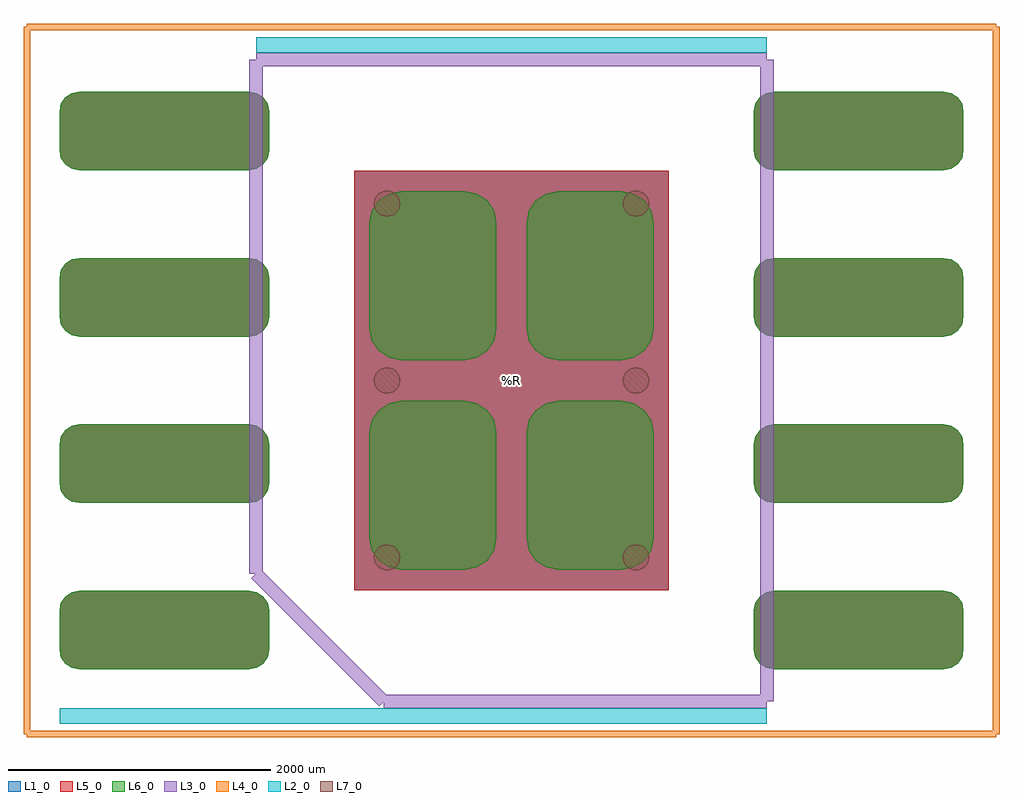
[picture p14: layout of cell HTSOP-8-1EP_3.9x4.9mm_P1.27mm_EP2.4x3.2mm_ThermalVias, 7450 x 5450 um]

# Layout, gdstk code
import gdstk
lib = gdstk.Library(unit=1e-6, precision=1e-09)
def R(c, l, rs):  # rectangles x0, y0, x1, y1
    for r in rs: c.add(gdstk.rectangle(r[:2], r[2:], *l))
def P(c, l, *ps):  # polygons
    for p in ps: c.add(gdstk.Polygon(p, *l))
L1_0 = (1, 0)
L2_0 = (2, 0)
L3_0 = (3, 0)
L4_0 = (4, 0)
L5_0 = (5, 0)
L6_0 = (6, 0)
L7_0 = (7, 0)

htsop_8_1ep_3_9x4_9mm_p1 = lib.new_cell('HTSOP-8-1EP_3.9x4.9mm_P1.27mm_EP2.4x3.2mm_ThermalVias')
R(htsop_8_1ep_3_9x4_9mm_p1, L1_0, [(-1200,-1600,1200,1600), (-1200,-1600,1200,1600)])
P(htsop_8_1ep_3_9x4_9mm_p1, L1_0, [(-2000,-2205),(-1943,-2194),(-1894,-2161),(-1861,-2112),(-1850,-2055),(-1850,-1755),(-1861,-1698),(-1894,-1649),(-1943,-1616),(-2000,-1605),(-3300,-1605),(-3357,-1616),(-3406,-1649),(-3439,-1698),(-3450,-1755),(-3450,-2055),(-3439,-2112),(-3406,-2161),(-3357,-2194),(-3300,-2205)],
  [(-2000,-935),(-1943,-924),(-1894,-891),(-1861,-842),(-1850,-785),(-1850,-485),(-1861,-428),(-1894,-379),(-1943,-346),(-2000,-335),(-3300,-335),(-3357,-346),(-3406,-379),(-3439,-428),(-3450,-485),(-3450,-785),(-3439,-842),(-3406,-891),(-3357,-924),(-3300,-935)],
  [(-2000,335),(-1943,346),(-1894,379),(-1861,428),(-1850,485),(-1850,785),(-1861,842),(-1894,891),(-1943,924),(-2000,935),(-3300,935),(-3357,924),(-3406,891),(-3439,842),(-3450,785),(-3450,485),(-3439,428),(-3406,379),(-3357,346),(-3300,335)],
  [(-2000,1605),(-1943,1616),(-1894,1649),(-1861,1698),(-1850,1755),(-1850,2055),(-1861,2112),(-1894,2161),(-1943,2194),(-2000,2205),(-3300,2205),(-3357,2194),(-3406,2161),(-3439,2112),(-3450,2055),(-3450,1755),(-3439,1698),(-3406,1649),(-3357,1616),(-3300,1605)],
  [(3300,1605),(3357,1616),(3406,1649),(3439,1698),(3450,1755),(3450,2055),(3439,2112),(3406,2161),(3357,2194),(3300,2205),(2000,2205),(1943,2194),(1894,2161),(1861,2112),(1850,2055),(1850,1755),(1861,1698),(1894,1649),(1943,1616),(2000,1605)],
  [(3300,335),(3357,346),(3406,379),(3439,428),(3450,485),(3450,785),(3439,842),(3406,891),(3357,924),(3300,935),(2000,935),(1943,924),(1894,891),(1861,842),(1850,785),(1850,485),(1861,428),(1894,379),(1943,346),(2000,335)],
  [(3300,-935),(3357,-924),(3406,-891),(3439,-842),(3450,-785),(3450,-485),(3439,-428),(3406,-379),(3357,-346),(3300,-335),(2000,-335),(1943,-346),(1894,-379),(1861,-428),(1850,-485),(1850,-785),(1861,-842),(1894,-891),(1943,-924),(2000,-935)],
  [(3300,-2205),(3357,-2194),(3406,-2161),(3439,-2112),(3450,-2055),(3450,-1755),(3439,-1698),(3406,-1649),(3357,-1616),(3300,-1605),(2000,-1605),(1943,-1616),(1894,-1649),(1861,-1698),(1850,-1755),(1850,-2055),(1861,-2112),(1894,-2161),(1943,-2194),(2000,-2205)],
  [(-700,-1350),(-719,-1254),(-773,-1173),(-854,-1119),(-950,-1100),(-1046,-1119),(-1127,-1173),(-1181,-1254),(-1200,-1350),(-1181,-1446),(-1127,-1527),(-1046,-1581),(-950,-1600),(-854,-1581),(-773,-1527),(-719,-1446)],
  [(1200,-1350),(1181,-1254),(1127,-1173),(1046,-1119),(950,-1100),(854,-1119),(773,-1173),(719,-1254),(700,-1350),(719,-1446),(773,-1527),(854,-1581),(950,-1600),(1046,-1581),(1127,-1527),(1181,-1446)],
  [(-700,0),(-719,96),(-773,177),(-854,231),(-950,250),(-1046,231),(-1127,177),(-1181,96),(-1200,0),(-1181,-96),(-1127,-177),(-1046,-231),(-950,-250),(-854,-231),(-773,-177),(-719,-96)],
  [(1200,0),(1181,96),(1127,177),(1046,231),(950,250),(854,231),(773,177),(719,96),(700,0),(719,-96),(773,-177),(854,-231),(950,-250),(1046,-231),(1127,-177),(1181,-96)],
  [(-700,1350),(-719,1446),(-773,1527),(-854,1581),(-950,1600),(-1046,1581),(-1127,1527),(-1181,1446),(-1200,1350),(-1181,1254),(-1127,1173),(-1046,1119),(-950,1100),(-854,1119),(-773,1173),(-719,1254)],
  [(1200,1350),(1181,1446),(1127,1527),(1046,1581),(950,1600),(854,1581),(773,1527),(719,1446),(700,1350),(719,1254),(773,1173),(854,1119),(950,1100),(1046,1119),(1127,1173),(1181,1254)])
R(htsop_8_1ep_3_9x4_9mm_p1, L5_0, [(-1200,-1600,1200,1600)])
P(htsop_8_1ep_3_9x4_9mm_p1, L5_0, [(-2000,-2205),(-1943,-2194),(-1894,-2161),(-1861,-2112),(-1850,-2055),(-1850,-1755),(-1861,-1698),(-1894,-1649),(-1943,-1616),(-2000,-1605),(-3300,-1605),(-3357,-1616),(-3406,-1649),(-3439,-1698),(-3450,-1755),(-3450,-2055),(-3439,-2112),(-3406,-2161),(-3357,-2194),(-3300,-2205)],
  [(-2000,-935),(-1943,-924),(-1894,-891),(-1861,-842),(-1850,-785),(-1850,-485),(-1861,-428),(-1894,-379),(-1943,-346),(-2000,-335),(-3300,-335),(-3357,-346),(-3406,-379),(-3439,-428),(-3450,-485),(-3450,-785),(-3439,-842),(-3406,-891),(-3357,-924),(-3300,-935)],
  [(-2000,335),(-1943,346),(-1894,379),(-1861,428),(-1850,485),(-1850,785),(-1861,842),(-1894,891),(-1943,924),(-2000,935),(-3300,935),(-3357,924),(-3406,891),(-3439,842),(-3450,785),(-3450,485),(-3439,428),(-3406,379),(-3357,346),(-3300,335)],
  [(-2000,1605),(-1943,1616),(-1894,1649),(-1861,1698),(-1850,1755),(-1850,2055),(-1861,2112),(-1894,2161),(-1943,2194),(-2000,2205),(-3300,2205),(-3357,2194),(-3406,2161),(-3439,2112),(-3450,2055),(-3450,1755),(-3439,1698),(-3406,1649),(-3357,1616),(-3300,1605)],
  [(3300,1605),(3357,1616),(3406,1649),(3439,1698),(3450,1755),(3450,2055),(3439,2112),(3406,2161),(3357,2194),(3300,2205),(2000,2205),(1943,2194),(1894,2161),(1861,2112),(1850,2055),(1850,1755),(1861,1698),(1894,1649),(1943,1616),(2000,1605)],
  [(3300,335),(3357,346),(3406,379),(3439,428),(3450,485),(3450,785),(3439,842),(3406,891),(3357,924),(3300,935),(2000,935),(1943,924),(1894,891),(1861,842),(1850,785),(1850,485),(1861,428),(1894,379),(1943,346),(2000,335)],
  [(3300,-935),(3357,-924),(3406,-891),(3439,-842),(3450,-785),(3450,-485),(3439,-428),(3406,-379),(3357,-346),(3300,-335),(2000,-335),(1943,-346),(1894,-379),(1861,-428),(1850,-485),(1850,-785),(1861,-842),(1894,-891),(1943,-924),(2000,-935)],
  [(3300,-2205),(3357,-2194),(3406,-2161),(3439,-2112),(3450,-2055),(3450,-1755),(3439,-1698),(3406,-1649),(3357,-1616),(3300,-1605),(2000,-1605),(1943,-1616),(1894,-1649),(1861,-1698),(1850,-1755),(1850,-2055),(1861,-2112),(1894,-2161),(1943,-2194),(2000,-2205)])
P(htsop_8_1ep_3_9x4_9mm_p1, L6_0, [(-2000,-2205),(-1943,-2194),(-1894,-2161),(-1861,-2112),(-1850,-2055),(-1850,-1755),(-1861,-1698),(-1894,-1649),(-1943,-1616),(-2000,-1605),(-3300,-1605),(-3357,-1616),(-3406,-1649),(-3439,-1698),(-3450,-1755),(-3450,-2055),(-3439,-2112),(-3406,-2161),(-3357,-2194),(-3300,-2205)],
  [(-2000,-935),(-1943,-924),(-1894,-891),(-1861,-842),(-1850,-785),(-1850,-485),(-1861,-428),(-1894,-379),(-1943,-346),(-2000,-335),(-3300,-335),(-3357,-346),(-3406,-379),(-3439,-428),(-3450,-485),(-3450,-785),(-3439,-842),(-3406,-891),(-3357,-924),(-3300,-935)],
  [(-2000,335),(-1943,346),(-1894,379),(-1861,428),(-1850,485),(-1850,785),(-1861,842),(-1894,891),(-1943,924),(-2000,935),(-3300,935),(-3357,924),(-3406,891),(-3439,842),(-3450,785),(-3450,485),(-3439,428),(-3406,379),(-3357,346),(-3300,335)],
  [(-2000,1605),(-1943,1616),(-1894,1649),(-1861,1698),(-1850,1755),(-1850,2055),(-1861,2112),(-1894,2161),(-1943,2194),(-2000,2205),(-3300,2205),(-3357,2194),(-3406,2161),(-3439,2112),(-3450,2055),(-3450,1755),(-3439,1698),(-3406,1649),(-3357,1616),(-3300,1605)],
  [(3300,1605),(3357,1616),(3406,1649),(3439,1698),(3450,1755),(3450,2055),(3439,2112),(3406,2161),(3357,2194),(3300,2205),(2000,2205),(1943,2194),(1894,2161),(1861,2112),(1850,2055),(1850,1755),(1861,1698),(1894,1649),(1943,1616),(2000,1605)],
  [(3300,335),(3357,346),(3406,379),(3439,428),(3450,485),(3450,785),(3439,842),(3406,891),(3357,924),(3300,935),(2000,935),(1943,924),(1894,891),(1861,842),(1850,785),(1850,485),(1861,428),(1894,379),(1943,346),(2000,335)],
  [(3300,-935),(3357,-924),(3406,-891),(3439,-842),(3450,-785),(3450,-485),(3439,-428),(3406,-379),(3357,-346),(3300,-335),(2000,-335),(1943,-346),(1894,-379),(1861,-428),(1850,-485),(1850,-785),(1861,-842),(1894,-891),(1943,-924),(2000,-935)],
  [(3300,-2205),(3357,-2194),(3406,-2161),(3439,-2112),(3450,-2055),(3450,-1755),(3439,-1698),(3406,-1649),(3357,-1616),(3300,-1605),(2000,-1605),(1943,-1616),(1894,-1649),(1861,-1698),(1850,-1755),(1850,-2055),(1861,-2112),(1894,-2161),(1943,-2194),(2000,-2205)],
  [(-357,-1445),(-265,-1427),(-186,-1374),(-133,-1295),(-115,-1202),(-115,-398),(-133,-305),(-186,-226),(-265,-173),(-357,-155),(-842,-155),(-935,-173),(-1014,-226),(-1067,-305),(-1085,-397),(-1085,-1202),(-1067,-1295),(-1014,-1374),(-935,-1427),(-842,-1445)],
  [(-357,155),(-265,173),(-186,226),(-133,305),(-115,398),(-115,1202),(-133,1295),(-186,1374),(-265,1427),(-357,1445),(-842,1445),(-935,1427),(-1014,1374),(-1067,1295),(-1085,1202),(-1085,398),(-1067,305),(-1014,226),(-935,173),(-842,155)],
  [(842,-1445),(935,-1427),(1014,-1374),(1067,-1295),(1085,-1202),(1085,-398),(1067,-305),(1014,-226),(935,-173),(842,-155),(358,-155),(265,-173),(186,-226),(133,-305),(115,-397),(115,-1202),(133,-1295),(186,-1374),(265,-1427),(357,-1445)],
  [(842,155),(935,173),(1014,226),(1067,305),(1085,398),(1085,1202),(1067,1295),(1014,1374),(935,1427),(842,1445),(358,1445),(265,1427),(186,1374),(133,1295),(115,1202),(115,398),(133,305),(186,226),(265,173),(357,155)])
P(htsop_8_1ep_3_9x4_9mm_p1, L7_0, [(-850,-1350),(-852,-1330),(-858,-1312),(-867,-1294),(-879,-1279),(-894,-1267),(-912,-1258),(-930,-1252),(-950,-1250),(-970,-1252),(-988,-1258),(-1006,-1267),(-1021,-1279),(-1033,-1294),(-1042,-1312),(-1048,-1330),(-1050,-1350),(-1048,-1370),(-1042,-1388),(-1033,-1406),(-1021,-1421),(-1006,-1433),(-988,-1442),(-970,-1448),(-950,-1450),(-930,-1448),(-912,-1442),(-894,-1433),(-879,-1421),(-867,-1406),(-858,-1388),(-852,-1370)],
  [(1050,-1350),(1048,-1330),(1042,-1312),(1033,-1294),(1021,-1279),(1006,-1267),(988,-1258),(970,-1252),(950,-1250),(930,-1252),(912,-1258),(894,-1267),(879,-1279),(867,-1294),(858,-1312),(852,-1330),(850,-1350),(852,-1370),(858,-1388),(867,-1406),(879,-1421),(894,-1433),(912,-1442),(930,-1448),(950,-1450),(970,-1448),(988,-1442),(1006,-1433),(1021,-1421),(1033,-1406),(1042,-1388),(1048,-1370)],
  [(-850,0),(-852,20),(-858,38),(-867,56),(-879,71),(-894,83),(-912,92),(-930,98),(-950,100),(-970,98),(-988,92),(-1006,83),(-1021,71),(-1033,56),(-1042,38),(-1048,20),(-1050,0),(-1048,-20),(-1042,-38),(-1033,-56),(-1021,-71),(-1006,-83),(-988,-92),(-970,-98),(-950,-100),(-930,-98),(-912,-92),(-894,-83),(-879,-71),(-867,-56),(-858,-38),(-852,-20)],
  [(1050,0),(1048,20),(1042,38),(1033,56),(1021,71),(1006,83),(988,92),(970,98),(950,100),(930,98),(912,92),(894,83),(879,71),(867,56),(858,38),(852,20),(850,0),(852,-20),(858,-38),(867,-56),(879,-71),(894,-83),(912,-92),(930,-98),(950,-100),(970,-98),(988,-92),(1006,-83),(1021,-71),(1033,-56),(1042,-38),(1048,-20)],
  [(-850,1350),(-852,1370),(-858,1388),(-867,1406),(-879,1421),(-894,1433),(-912,1442),(-930,1448),(-950,1450),(-970,1448),(-988,1442),(-1006,1433),(-1021,1421),(-1033,1406),(-1042,1388),(-1048,1370),(-1050,1350),(-1048,1330),(-1042,1312),(-1033,1294),(-1021,1279),(-1006,1267),(-988,1258),(-970,1252),(-950,1250),(-930,1252),(-912,1258),(-894,1267),(-879,1279),(-867,1294),(-858,1312),(-852,1330)],
  [(1050,1350),(1048,1370),(1042,1388),(1033,1406),(1021,1421),(1006,1433),(988,1442),(970,1448),(950,1450),(930,1448),(912,1442),(894,1433),(879,1421),(867,1406),(858,1388),(852,1370),(850,1350),(852,1330),(858,1312),(867,1294),(879,1279),(894,1267),(912,1258),(930,1252),(950,1250),(970,1252),(988,1258),(1006,1267),(1021,1279),(1033,1294),(1042,1312),(1048,1330)])
htsop_8_1ep_3_9x4_9mm_p1.add(gdstk.FlexPath([(0,2560),(1950,2560)], 120, ends="flush", simple_path=True, layer=2, datatype=0))  # L2_0
htsop_8_1ep_3_9x4_9mm_p1.add(gdstk.FlexPath([(0,2560),(-1950,2560)], 120, ends="flush", simple_path=True, layer=2, datatype=0))  # L2_0
htsop_8_1ep_3_9x4_9mm_p1.add(gdstk.FlexPath([(0,-2560),(1950,-2560)], 120, ends="flush", simple_path=True, layer=2, datatype=0))  # L2_0
htsop_8_1ep_3_9x4_9mm_p1.add(gdstk.FlexPath([(0,-2560),(-3450,-2560)], 120, ends="flush", simple_path=True, layer=2, datatype=0))  # L2_0
htsop_8_1ep_3_9x4_9mm_p1.add(gdstk.FlexPath([(-975,-2450),(1950,-2450)], 100, ends="flush", simple_path=True, layer=3, datatype=0))  # L3_0
htsop_8_1ep_3_9x4_9mm_p1.add(gdstk.FlexPath([(1950,-2450),(1950,2450)], 100, ends="flush", simple_path=True, layer=3, datatype=0))  # L3_0
htsop_8_1ep_3_9x4_9mm_p1.add(gdstk.FlexPath([(1950,2450),(-1950,2450)], 100, ends="flush", simple_path=True, layer=3, datatype=0))  # L3_0
htsop_8_1ep_3_9x4_9mm_p1.add(gdstk.FlexPath([(-1950,2450),(-1950,-1475)], 100, ends="flush", simple_path=True, layer=3, datatype=0))  # L3_0
htsop_8_1ep_3_9x4_9mm_p1.add(gdstk.FlexPath([(-1950,-1475),(-975,-2450)], 100, ends="flush", simple_path=True, layer=3, datatype=0))  # L3_0
htsop_8_1ep_3_9x4_9mm_p1.add(gdstk.FlexPath([(-3700,-2700),(-3700,2700)], 50, ends="flush", simple_path=True, layer=4, datatype=0))  # L4_0
htsop_8_1ep_3_9x4_9mm_p1.add(gdstk.FlexPath([(-3700,2700),(3700,2700)], 50, ends="flush", simple_path=True, layer=4, datatype=0))  # L4_0
htsop_8_1ep_3_9x4_9mm_p1.add(gdstk.FlexPath([(3700,2700),(3700,-2700)], 50, ends="flush", simple_path=True, layer=4, datatype=0))  # L4_0
htsop_8_1ep_3_9x4_9mm_p1.add(gdstk.FlexPath([(3700,-2700),(-3700,-2700)], 50, ends="flush", simple_path=True, layer=4, datatype=0))  # L4_0
htsop_8_1ep_3_9x4_9mm_p1.add(gdstk.Label('REF**', (0,-3400), layer=2, texttype=0))
htsop_8_1ep_3_9x4_9mm_p1.add(gdstk.Label('HTSOP-8-1EP_3.9x4.9mm_P1.27mm_EP2.4x3.2mm_ThermalVias', (0,3400), layer=3, texttype=0))
htsop_8_1ep_3_9x4_9mm_p1.add(gdstk.Label('%R', (0,0), layer=3, texttype=0))

lib.write_gds('HTSOP-8-1EP_3.9x4.9mm_P1.27mm_EP2.4x3.2mm_ThermalVias.gds')
